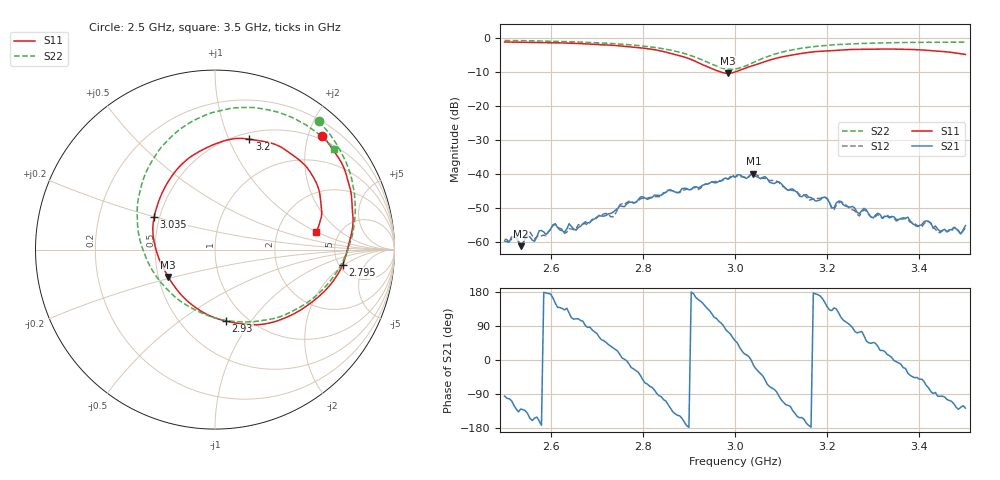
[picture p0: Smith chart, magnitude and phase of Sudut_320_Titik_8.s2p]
# Hz S RI R 50
! CMT, C1220, 16058040, 17.2.0/1
! Date: 15/08/2018 09:58:52
! Data: Format (Calibration Info)
! Freq  S11: Re/Im (F2)  S21: Re/Im (F2)  S12: Re/Im (F2)  S22: Re/Im (F2)
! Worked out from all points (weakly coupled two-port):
!   201 points, 2.5 GHz to 3.5 GHz, reference 50 ohm
!   highest |S21| = -39.94 dB at 3.04 GHz (marker M1); lowest = -61.2 dB at 2.535 GHz (marker M2)
!   lowest |S11| = -10.4 dB at 2.985 GHz (marker M3), VSWR 1.86, Z = 28.2 - j9.45 ohm
!   |S11| at or under -10 dB: 2.969 GHz to 3 GHz (31.47 MHz wide, 1.05 % of centre)
!   |S22| runs from -9.2 to -0.7 dB; largest |S21 - S12| = 0.00089
!   S11 on the Smith chart (normalised r, x): 2.5 GHz: 0.42, +2.25; 2.795 GHz: 5.39, -1.86; 2.93 GHz: 0.81, -0.77; 3.035 GHz: 0.47, +0.20; 3.2 GHz: 0.57, +1.19; 3.5 GHz: 3.37, +0.96
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2.5e9  0.5973 0.6351  -9.6e-05 -0.00103  -0.000125 -0.0011  0.5771 0.7142
2.535e9  0.6385 0.5833  -0.00055 -0.000672  -0.000594 -0.000674  0.6161 0.6714
2.55e9  0.652 0.5632  -0.00094 -0.000747  -0.000989 -0.00091  0.6331 0.6519
2.61e9  0.7155 0.4617  -0.00161 0.000933  -0.00156 0.000906  0.6939 0.5578
2.63e9  0.7321 0.4153  -0.000939 0.00104  -0.000738 0.00112  0.7126 0.5226
2.67e9  0.7575 0.3198  -0.000389 0.00181  -0.000282 0.00181  0.7481 0.44
2.795e9  0.7114 -0.0842  0.00345 -0.00304  0.00323 -0.00287  0.764 0.0752
2.835e9  0.6102 -0.2318  -0.000354 -0.00481  -0.000235 -0.00462  0.7047 -0.079
2.93e9  0.0622 -0.3983  -0.00592 0.00341  -0.00598 0.00308  0.2537 -0.3965
2.985e9  -0.2604 -0.1524  0.0023 0.00805  0.00201 0.00821  -0.1774 -0.2981
3e9  -0.3123 -0.0498  0.00563 0.00701  0.00593 0.00673  -0.2777 -0.2098
3.035e9  -0.3387 0.1811  0.00992 -8.12e-06  0.00994 0.000157  -0.4184 0.0536
3.04e9  -0.3316 0.2126  0.0098 -0.00233  0.0101 -0.0021  -0.4267 0.0951
3.1e9  -0.1612 0.4972  -0.00178 -0.00701  -0.00205 -0.00656  -0.3412 0.5093
3.17e9  0.0957 0.6164  -0.00426 0.000237  -0.00427 -0.000152  -0.0725 0.7411
3.2e9  0.1909 0.6149  -0.00332 0.00272  -0.00326 0.00293  0.0385 0.776
3.215e9  0.2389 0.6076  -0.00235 0.00214  -0.00207 0.00217  0.0914 0.7873
3.23e9  0.2843 0.5997  -0.00152 0.00365  -0.00166 0.00354  0.1406 0.7914
3.27e9  0.3811 0.563  0.000735 0.00251  0.00067 0.00232  0.2597 0.785
3.335e9  0.5083 0.4626  0.00222 0.000458  0.00231 0.000371  0.4137 0.7427
3.49e9  0.5738 0.1203  -0.000748 -0.00108  -0.000766 -0.00106  0.652 0.5718
3.5e9  0.5632 0.0961  -0.00105 -0.00139  -0.00111 -0.0012  0.6626 0.5597
